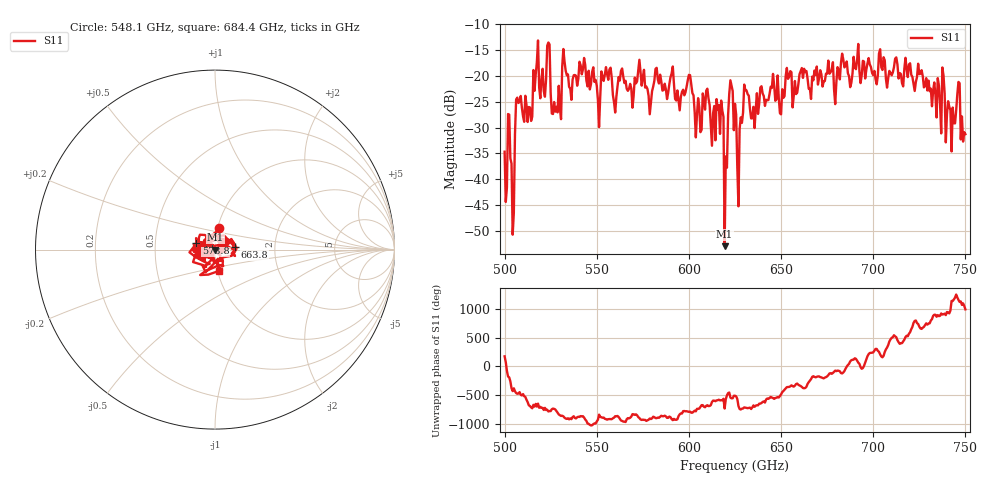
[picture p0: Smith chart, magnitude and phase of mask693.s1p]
!Created with skrf (http://scikit-rf.org).
# GHz S MA R 50.0
!freq magS11 angS11
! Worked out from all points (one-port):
!   401 points, 500 GHz to 750 GHz, reference 50 ohm
!   lowest |S11| = -52.9 dB at 619.4 GHz (marker M1), VSWR 1.00, Z = 50.2 - j0.0362 ohm
!   |S11| at or under -10 dB: start of sweep to end of sweep
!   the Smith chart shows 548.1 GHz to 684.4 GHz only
!   S11 on the Smith chart (normalised r, x): 548.1 GHz: 1.01, +0.25; 573.8 GHz: 0.81, +0.06; 663.8 GHz: 1.25, +0.04; 684.4 GHz: 1.02, -0.24
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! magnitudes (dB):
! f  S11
! 500 GHz  -34.7
! 502.5 GHz  -27.5
! 504.4 GHz  -50.7
! 507.5 GHz  -25.2
! 513.8 GHz  -26.1
! 516.9 GHz  -19.7
! 523.8 GHz  -13.5
! 526.9 GHz  -25.1
! 531.2 GHz  -18.2
! 548.1 GHz  -18.3
! 562.5 GHz  -20.9
! 573.8 GHz  -19.3
! 593.8 GHz  -22.8
! 616.2 GHz  -25.6
! 619.4 GHz  -52.9
! 622.5 GHz  -20.9
! 625 GHz  -25.4
! 627.5 GHz  -30.3
! 631.2 GHz  -22.8
! 635 GHz  -26.0
! 656.2 GHz  -26.1
! 663.8 GHz  -19.1
! 684.4 GHz  -18.4
! 687.5 GHz  -22.2
! 718.8 GHz  -20.2
! 743.1 GHz  -26.1
! 745.6 GHz  -23.5
! 750 GHz  -31.3
